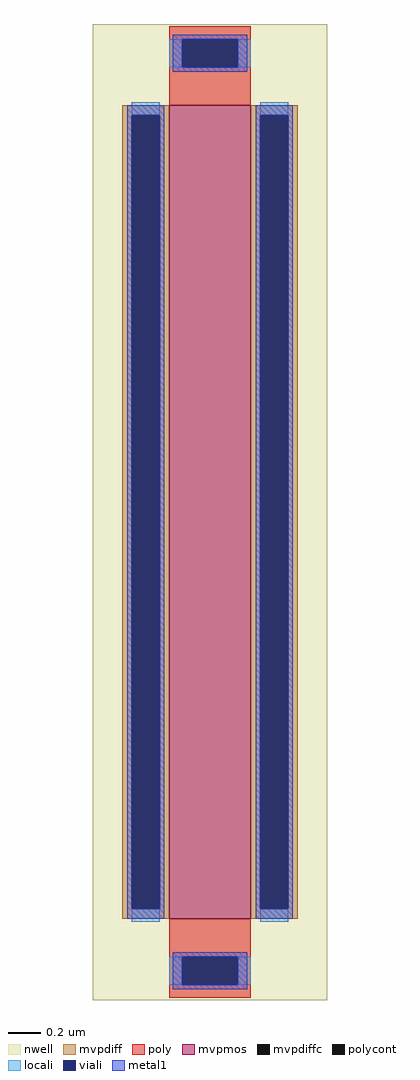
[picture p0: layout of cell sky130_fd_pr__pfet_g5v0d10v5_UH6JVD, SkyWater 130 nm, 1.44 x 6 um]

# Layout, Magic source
magic
tech sky130A
magscale 1 2
<< nwell >>
rect -144 -600 144 600
<< mvpmos >>
rect -50 -500 50 500
<< mvpdiff >>
rect -108 488 -50 500
rect -108 -488 -96 488
rect -62 -488 -50 488
rect -108 -500 -50 -488
rect 50 488 108 500
rect 50 -488 62 488
rect 96 -488 108 488
rect 50 -500 108 -488
<< mvpdiffc >>
rect -96 -488 -62 488
rect 62 -488 96 488
<< poly >>
rect -50 581 50 597
rect -50 547 -34 581
rect 34 547 50 581
rect -50 500 50 547
rect -50 -547 50 -500
rect -50 -581 -34 -547
rect 34 -581 50 -547
rect -50 -597 50 -581
<< polycont >>
rect -34 547 34 581
rect -34 -581 34 -547
<< locali >>
rect -50 547 -34 581
rect 34 547 50 581
rect -96 488 -62 504
rect -96 -504 -62 -488
rect 62 488 96 504
rect 62 -504 96 -488
rect -50 -581 -34 -547
rect 34 -581 50 -547
<< viali >>
rect -34 547 34 581
rect -96 -488 -62 488
rect 62 -488 96 488
rect -34 -581 34 -547
<< metal1 >>
rect -46 581 46 587
rect -46 547 -34 581
rect 34 547 46 581
rect -46 541 46 547
rect -102 488 -56 500
rect -102 -488 -96 488
rect -62 -488 -56 488
rect -102 -500 -56 -488
rect 56 488 102 500
rect 56 -488 62 488
rect 96 -488 102 488
rect 56 -500 102 -488
rect -46 -547 46 -541
rect -46 -581 -34 -547
rect 34 -581 46 -547
rect -46 -587 46 -581
<< properties >>
string gencell sky130_fd_pr__pfet_g5v0d10v5
string parameters w 5 l 0.5 m 1 nf 1 diffcov 100 polycov 100 guard 0 glc 0 grc 0 gtc 0 gbc 0 tbcov 100 rlcov 100 topc 1 botc 1 poverlap 0 doverlap 1 lmin 0.50 wmin 0.42 compatible {sky130_fd_pr__pfet_01v8  sky130_fd_pr__pfet_01v8_lvt sky130_fd_pr__pfet_01v8_hvt  sky130_fd_pr__pfet_g5v0d10v5} full_metal 0 viasrc 100 viadrn 100 viagate 100 viagb 0 viagr 0 viagl 0 viagt 0
string library sky130
<< end >>
